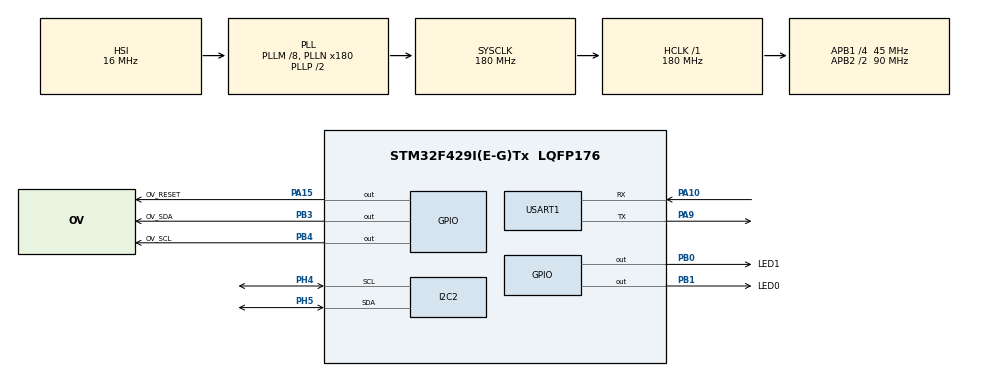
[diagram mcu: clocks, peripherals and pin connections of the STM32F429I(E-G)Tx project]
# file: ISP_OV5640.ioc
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Dma.Request0=USART1_RX
Dma.USART1_RX.0.Direction=DMA_PERIPH_TO_MEMORY
Dma.USART1_RX.0.FIFOMode=DMA_FIFOMODE_DISABLE
Dma.USART1_RX.0.Instance=DMA2_Stream2
Dma.USART1_RX.0.MemDataAlignment=DMA_MDATAALIGN_BYTE
Dma.USART1_RX.0.MemInc=DMA_MINC_ENABLE
Dma.USART1_RX.0.Mode=DMA_CIRCULAR
Dma.USART1_RX.0.PeriphDataAlignment=DMA_PDATAALIGN_BYTE
Dma.USART1_RX.0.PeriphInc=DMA_PINC_DISABLE
Dma.USART1_RX.0.Priority=DMA_PRIORITY_MEDIUM
FREERTOS.Tasks01=CameraServiceTa,32,2048,StartCameraServiceTask,Default,NULL,Dynamic,NULL,NULL;MonitorTask,8,512,StartMonitorTask,Default,NULL,Dynamic,NULL,NULL
FREERTOS.configTOTAL_HEAP_SIZE=32768
Mcu.Family=STM32F4
Mcu.Name=STM32F429I(E-G)Tx
Mcu.Package=LQFP176
NVIC.DMA2_Stream2_IRQn=true\:5\:0\:false\:false\:true\:true\:false\:true\:true
NVIC.PriorityGroup=NVIC_PRIORITYGROUP_4
NVIC.TIM6_DAC_IRQn=true\:15\:0\:false\:false\:true\:false\:false\:true\:true
NVIC.TimeBase=TIM6_DAC_IRQn
NVIC.TimeBaseIP=TIM6
NVIC.USART1_IRQn=true\:5\:0\:false\:false\:true\:true\:true\:true\:true
PA10.Mode=Asynchronous
PA10.Signal=USART1_RX
PA13.Mode=Serial_Wire
PA13.Signal=SYS_JTMS-SWDIO
PA14.Mode=Serial_Wire
PA14.Signal=SYS_JTCK-SWCLK
PA15.GPIO_Label=OV_RESET
PA15.GPIO_PuPd=GPIO_PULLUP
PA15.GPIO_Speed=GPIO_SPEED_FREQ_MEDIUM
PA15.Signal=GPIO_Output
PA9.Mode=Asynchronous
PA9.Signal=USART1_TX
PB0.GPIO_Label=LED1
PB0.PinState=GPIO_PIN_SET
PB0.Signal=GPIO_Output
PB1.GPIO_Label=LED0
PB1.PinState=GPIO_PIN_SET
PB1.Signal=GPIO_Output
PB3.GPIO_Label=OV_SDA
PB3.GPIO_ModeDefaultOutputPP=GPIO_MODE_OUTPUT_OD
PB3.GPIO_PuPd=GPIO_PULLUP
PB3.GPIO_Speed=GPIO_SPEED_FREQ_MEDIUM
PB3.PinState=GPIO_PIN_SET
PB3.Signal=GPIO_Output
PB4.GPIO_Label=OV_SCL
PB4.GPIO_ModeDefaultOutputPP=GPIO_MODE_OUTPUT_OD
PB4.GPIO_PuPd=GPIO_PULLUP
PB4.GPIO_Speed=GPIO_SPEED_FREQ_MEDIUM
PB4.PinState=GPIO_PIN_SET
PB4.Signal=GPIO_Output
PC14/OSC32_IN.Mode=LSE-External-Oscillator
PC14/OSC32_IN.Signal=RCC_OSC32_IN
PC15/OSC32_OUT.Mode=LSE-External-Oscillator
PC15/OSC32_OUT.Signal=RCC_OSC32_OUT
PH0/OSC_IN.Mode=HSE-External-Oscillator
PH0/OSC_IN.Signal=RCC_OSC_IN
PH1/OSC_OUT.Mode=HSE-External-Oscillator
PH1/OSC_OUT.Signal=RCC_OSC_OUT
PH4.GPIO_Pu=GPIO_PULLUP
PH4.GPIO_Speed=GPIO_SPEED_FREQ_HIGH
PH4.Mode=I2C
PH4.Signal=I2C2_SCL
PH5.GPIO_Pu=GPIO_PULLUP
PH5.GPIO_Speed=GPIO_SPEED_FREQ_HIGH
PH5.Mode=I2C
PH5.Signal=I2C2_SDA
ProjectManager.HeapSize=0x200
ProjectManager.StackSize=0x400
ProjectManager.TargetToolchain=CMake
RCC.48MHZClocksFreq_Value=90000000
RCC.AHBFreq_Value=180000000
RCC.APB1CLKDivider=RCC_HCLK_DIV4
RCC.APB1Freq_Value=45000000
RCC.APB1TimFreq_Value=90000000
RCC.APB2CLKDivider=RCC_HCLK_DIV2
RCC.APB2Freq_Value=90000000
RCC.APB2TimFreq_Value=180000000
RCC.CortexFreq_Value=180000000
RCC.HCLKFreq_Value=180000000
RCC.HSE_VALUE=25000000
RCC.HSI_VALUE=16000000
RCC.PLLM=8
RCC.PLLN=180
RCC.SYSCLKFreq_VALUE=180000000
RCC.SYSCLKSource=RCC_SYSCLKSOURCE_PLLCLK
RCC.VCOOutputFreq_Value=360000000
TIM7.Prescaler=89
USART1.VirtualMode=VM_ASYNC
VP_FREERTOS_VS_CMSIS_V2.Mode=CMSIS_V2
VP_SYS_VS_tim6.Mode=TIM6
VP_TIM7_VS_ClockSourceINT.Mode=Enable_Timer
board=custom

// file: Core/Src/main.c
/* USER CODE BEGIN Header */
/**
  ******************************************************************************
  * @file           : main.c
  * @brief          : Main program body
  ******************************************************************************
  * @attention
  *
  * Copyright (c) 2026 STMicroelectronics.
  * All rights reserved.
  *
  * This software is licensed under terms that can be found in the LICENSE file
  * in the root directory of this software component.
  * If no LICENSE file comes with this software, it is provided AS-IS.
  *
  ******************************************************************************
  */
/* USER CODE END Header */
#include "main.h"
#include "cmsis_os.h"
#include "dma.h"
#include "i2c.h"
#include "tim.h"
#include "usart.h"
#include "gpio.h"

/* USER CODE BEGIN Includes */
#include "bsp_log.h"
#include "bsp_PCF8574.h"
#include "delay_tim.h"
#include "bsp_sccb.h"
#include "lcd_mcu.h"
#include "camera_dcmi_dma.h"
#include "camera_cli.h"
#include "camera_frame_buffer.h"
#include "camera_image_process.h"
#include "camera_pc_dump.h"
#include "camera_rtos.h"
#include "OV5640.h"
#include "ov5640_tuning.h"
#include "FreeRTOS.h"
#include "task.h"
/* USER CODE END Includes */

/* USER CODE BEGIN PD */
#define CAMERA_MODE_480X320_REAL       0
#define CAMERA_MODE_480X320_TESTBAR    1
#define CAMERA_MODE_320X240_REAL       2
#define CAMERA_MODE_PC_DUMP_RGB565     3

#define CAMERA_MODE                    CAMERA_MODE_PC_DUMP_RGB565
#define PC_DUMP_USE_REAL_IMAGE         1U
#define OV5640_AEC_TUNING_ENABLE       1U
#define OV5640_AEC_TUNING_LEVEL        OV5640_AEC_TARGET_BASELINE
#define OV5640_AWB_TUNING_ENABLE       1U
#define OV5640_AWB_TUNING_MODE         OV5640_AWB_MODE_AUTO
#define OV5640_IMAGE_TUNING_ENABLE     1U
#define OV5640_BRIGHTNESS_LEVEL        1
#define OV5640_CONTRAST_LEVEL          0
#define OV5640_SATURATION_LEVEL        1
#define OV5640_SHARPNESS_LEVEL         0
#define CAMERA_FRAME_BUFFER_ENABLE     1U
#define CAMERA_CLI_ENABLE              1U

/* FreeRTOS严重错误Hook类型。 */
#define HOOK_FAULT_STACK_OVERFLOW      1U
#define HOOK_FAULT_MALLOC_FAILED       2U
#define HOOK_FAULT_ASSERT_FAILED       3U

/* USER CODE END PD */

/* USER CODE BEGIN PV */

// 启动最早期保存的IWDG复位标志，仅用于简洁诊断输出
static uint32_t g_boot_iwdg_reset = 0U;

/* USER CODE END PV */

void SystemClock_Config(void);
void MX_FREERTOS_Init(void);
/* USER CODE BEGIN PFP */
#if (CAMERA_SD_DIAG_SD_ONLY_BOOT == 0U)
static uint8_t Camera_Application_Init(void);
#else
static void Camera_SDOnly_Application_Init(void);
#endif
static void Hook_WriteU32(uint32_t value);
static void Hook_Stop(void);
/* USER CODE END PFP */

int main(void)
{

  /* USER CODE BEGIN 1 */

#if (CAMERA_SD_DIAG_SD_ONLY_BOOT == 0U)
  uint8_t camera_init_result;
#endif

  g_boot_iwdg_reset = ((RCC->CSR & RCC_CSR_IWDGRSTF) != 0U) ? 1U : 0U;
  __HAL_RCC_CLEAR_RESET_FLAGS();

  /* USER CODE END 1 */

  /* MCU Configuration--------------------------------------------------------*/

  /* Reset of all peripherals, Initializes the Flash interface and the Systick. */
  HAL_Init();

  /* Configure the system clock */
  SystemClock_Config();

  /* Initialize all configured peripherals */
  MX_GPIO_Init();
  MX_DMA_Init();
  MX_I2C2_Init();
  MX_USART1_UART_Init();
  MX_TIM7_Init();
  /* USER CODE BEGIN 2 */
  log_init(&huart1);
  log_set_level(LOG_LEVEL_DEBUG);   // 输出 DEBUG 及以上等级
  LOG_INFO("reset: iwdg=%lu", (unsigned long)g_boot_iwdg_reset);
  Delay_TIM7_Init();
#if (CAMERA_SD_DIAG_SD_ONLY_BOOT != 0U)
  Camera_SDOnly_Application_Init();
#else
  camera_init_result = Camera_Application_Init();
#endif
  Camera_RTOS_Init(&huart1);
  // 应用初始化完成后、调度器启动前启用IWDG
  if (Camera_RTOS_IwdgInit() != HAL_OK)
  {
    LOG_ERROR("IWDG init failed");
    Error_Handler();
  }
  /* USER CODE END 2 */

  /* Init scheduler */
  osKernelInitialize();  /* Call init function for freertos objects (in cmsis_os2.c) */
  MX_FREERTOS_Init();
#if (CAMERA_SD_DIAG_SD_ONLY_BOOT == 0U)
  if (camera_init_result == 0U)
  {
    (void)xEventGroupSetBits(
      CameraSystemEventGroup,
      CAMERA_SYS_CAMERA_READY);
  }
#endif

  /* Start scheduler */
  osKernelStart();

  /* We should never get here as control is now taken by the scheduler */

  /* Infinite loop */
  while (1)
  {

  }
}

void SystemClock_Config(void)
{
  RCC_OscInitTypeDef RCC_OscInitStruct = {0};
  RCC_ClkInitTypeDef RCC_ClkInitStruct = {0};

  /** Configure the main internal regulator output voltage
  */
  __HAL_RCC_PWR_CLK_ENABLE();
  __HAL_PWR_VOLTAGESCALING_CONFIG(PWR_REGULATOR_VOLTAGE_SCALE1);

  /** Initializes the RCC Oscillators according to the specified parameters
  * in the RCC_OscInitTypeDef structure.
  */
  RCC_OscInitStruct.OscillatorType = RCC_OSCILLATORTYPE_HSI;
  RCC_OscInitStruct.HSIState = RCC_HSI_ON;
  RCC_OscInitStruct.HSICalibrationValue = RCC_HSICALIBRATION_DEFAULT;
  RCC_OscInitStruct.PLL.PLLState = RCC_PLL_ON;
  RCC_OscInitStruct.PLL.PLLSource = RCC_PLLSOURCE_HSI;
  RCC_OscInitStruct.PLL.PLLM = 8;
  RCC_OscInitStruct.PLL.PLLN = 180;
  RCC_OscInitStruct.PLL.PLLP = RCC_PLLP_DIV2;
  RCC_OscInitStruct.PLL.PLLQ = 4;
  if (HAL_RCC_OscConfig(&RCC_OscInitStruct) != HAL_OK)
  {
    Error_Handler();
  }

  /** Activate the Over-Drive mode
  */
  if (HAL_PWREx_EnableOverDrive() != HAL_OK)
  {
    Error_Handler();
  }

  /** Initializes the CPU, AHB and APB buses clocks
  */
  RCC_ClkInitStruct.ClockType = RCC_CLOCKTYPE_HCLK|RCC_CLOCKTYPE_SYSCLK
                              |RCC_CLOCKTYPE_PCLK1|RCC_CLOCKTYPE_PCLK2;
  RCC_ClkInitStruct.SYSCLKSource = RCC_SYSCLKSOURCE_PLLCLK;
  RCC_ClkInitStruct.AHBCLKDivider = RCC_SYSCLK_DIV1;
  RCC_ClkInitStruct.APB1CLKDivider = RCC_HCLK_DIV4;
  RCC_ClkInitStruct.APB2CLKDivider = RCC_HCLK_DIV2;

  if (HAL_RCC_ClockConfig(&RCC_ClkInitStruct, FLASH_LATENCY_5) != HAL_OK)
  {
    Error_Handler();
  }
}

/* USER CODE BEGIN 4 */

#if (CAMERA_SD_DIAG_SD_ONLY_BOOT != 0U)
// 初始化仅用于 SD 诊断的最小启动路径
static void Camera_SDOnly_Application_Init(void)
{
  Camera_CLI_Init();
  LOG_INFO("SD-only boot active: OV5640 and DCMI initialization skipped");
}
#endif

#if (CAMERA_SD_DIAG_SD_ONLY_BOOT == 0U)
// 按编译期模式初始化摄像头、可选 LCD、双缓冲和 CLI
static uint8_t Camera_Application_Init(void)
{
  uint16_t ov_id;
  uint8_t ret;

  if (PCF8574_Init())
  {
    LOG_ERROR("PCF8574 initialization failed, check I2C connection");
    HAL_Delay(100);
  }
  else
  {
    LOG_INFO("PCF8574 initialized successfully");
  }

  // 先退出 PWDN 再执行硬复位，保证 OV5640 能响应后续 SCCB 访问。
  PCF8574_WriteBit(PCF8574_OV_PWDN_IO, 0);
  HAL_Delay(20);

  HAL_GPIO_WritePin(OV_RESET_GPIO_Port, OV_RESET_Pin, GPIO_PIN_RESET);
  HAL_Delay(20);
  HAL_GPIO_WritePin(OV_RESET_GPIO_Port, OV_RESET_Pin, GPIO_PIN_SET);
  HAL_Delay(50);

  ov_id = OV5640_ReadID();
  if (ov_id == 0x5640)
  {
    LOG_INFO("OV5640 OK, ID = 0x%04X", ov_id);
  }
  else
  {
    LOG_ERROR("OV5640 ERROR, ID = 0x%04X", ov_id);
  }

#if CAMERA_MODE != CAMERA_MODE_PC_DUMP_RGB565
  LCD_MCU_Init();
  HAL_Delay(1000);
#endif

#if CAMERA_MODE == CAMERA_MODE_PC_DUMP_RGB565
#if PC_DUMP_USE_REAL_IMAGE
  ret = OV5640_Min_InitRGB565_160x120_RealImage();
#else
  ret = OV5640_Min_InitRGB565_160x120_TestBar();
#endif
  if (ret != 0U)
  {
    LOG_ERROR("OV5640 PC dump 160x120 init failed, ret = %u", ret);
  }
#if OV5640_AEC_TUNING_ENABLE
  if (ret == 0U)
  {
    uint8_t aec_target_ret = OV5640_Tuning_SetAecTarget(OV5640_AEC_TUNING_LEVEL);
    if (aec_target_ret != 0U)
    {
      LOG_ERROR("OV5640 AEC target set failed, ret = %u", aec_target_ret);
    }
    HAL_Delay(1000U);
  }
#endif
#if OV5640_AWB_TUNING_ENABLE
  if (ret == 0U)
  {
    uint8_t awb_mode_ret = OV5640_Tuning_SetAWBMode(OV5640_AWB_TUNING_MODE);
    if (awb_mode_ret != 0U)
    {
      LOG_ERROR("OV5640 AWB mode set failed, ret = %u", awb_mode_ret);
    }
  }
#endif
#if OV5640_IMAGE_TUNING_ENABLE
  if (ret == 0U)
  {
    uint8_t brightness_ret = OV5640_Tuning_SetBrightness(OV5640_BRIGHTNESS_LEVEL);
    uint8_t contrast_ret = OV5640_Tuning_SetContrast(OV5640_CONTRAST_LEVEL);
    uint8_t saturation_ret = OV5640_Tuning_SetSaturation(OV5640_SATURATION_LEVEL);
    uint8_t sharpness_ret = OV5640_Tuning_SetSharpness(OV5640_SHARPNESS_LEVEL);
    if ((brightness_ret != 0U) || (contrast_ret != 0U) ||
        (saturation_ret != 0U) || (sharpness_ret != 0U))
    {
      LOG_ERROR("OV5640 image tuning failed B=%u C=%u S=%u H=%u",
                brightness_ret,
                contrast_ret,
                saturation_ret,
                sharpness_ret);
    }
  }
#endif
#elif CAMERA_MODE == CAMERA_MODE_480X320_REAL
  ret = OV5640_Min_InitRGB565_480x320_RealImage();
  if (ret != 0U)
  {
    LOG_ERROR("OV5640 480x320 real image init failed, ret = %u", ret);
  }
#elif CAMERA_MODE == CAMERA_MODE_480X320_TESTBAR
  ret = OV5640_Min_InitRGB565_480x320_TestBar();
  if (ret != 0U)
  {
    LOG_ERROR("OV5640 480x320 testbar init failed, ret = %u", ret);
  }
#elif CAMERA_MODE == CAMERA_MODE_320X240_REAL
  ret = OV5640_Min_InitRGB565_QVGA_RealImage();
  if (ret != 0U)
  {
    LOG_ERROR("OV5640 320x240 real image init failed, ret = %u", ret);
  }
#else
#error "Unsupported CAMERA_MODE"
#endif

#if (CAMERA_FRAME_BUFFER_ENABLE != 0U)
  Camera_FrameBuffer_Init();
#endif
#if (CAMERA_CLI_ENABLE != 0U)
  Camera_CLI_Init();
#endif

  Camera_DCMI_Init();

#if CAMERA_MODE != CAMERA_MODE_PC_DUMP_RGB565
  Camera_DCMI_DMA_ConfigToLCD((uint32_t)LCD_MCU_GetRAMAddress());

#if (CAMERA_MODE == CAMERA_MODE_480X320_REAL) || (CAMERA_MODE == CAMERA_MODE_480X320_TESTBAR)
  Camera_DCMI_StartToLCD(0, 0, 480, 320);
#elif CAMERA_MODE == CAMERA_MODE_320X240_REAL
  Camera_DCMI_StartToLCD(0, 0, 320, 240);
#else
#error "Unsupported CAMERA_MODE"
#endif

  HAL_Delay(100);
  LOG_INFO("DCMI CR   = 0x%08lX", DCMI->CR);
  LOG_INFO("DCMI SR   = 0x%08lX", DCMI->SR);
  LOG_INFO("DCMI RISR = 0x%08lX", DCMI->RISR);
  LOG_INFO("DCMI MISR = 0x%08lX", DCMI->MISR);
  LOG_INFO("DCMI IER  = 0x%08lX", DCMI->IER);
  LOG_INFO("DMA2_Stream1 CR   = 0x%08lX", DMA2_Stream1->CR);
  LOG_INFO("DMA2_Stream1 NDTR = %lu", DMA2_Stream1->NDTR);
#endif

  if (ret == 0U)
  {
    LOG_INFO("Camera init OK");
  }
  return ret;
}
#endif

// 不使用格式化缓冲区输出无符号整数，避免严重错误路径额外占用大量栈
static void Hook_WriteU32(uint32_t value)
{
  char buffer[11];
  uint32_t position = sizeof(buffer);

  buffer[--position] = '\0';
  do
  {
    buffer[--position] = (char)('0' + (value % 10U));
    value /= 10U;
  } while ((value != 0U) && (position > 0U));

  log_output(&buffer[position]);
}

// 致命错误输出完成后关闭中断并停机，不主动复位
static void Hook_Stop(void)
{
  __disable_irq();
  for (;;)
  {
    __NOP();
  }
}

// FreeRTOS任务栈溢出Hook
void vApplicationStackOverflowHook(TaskHandle_t xTask, char *pcTaskName)
{
  (void)xTask;
  Camera_RTOS_RecordHookFault(HOOK_FAULT_STACK_OVERFLOW, 0U);
  log_output("FATAL: FreeRTOS stack overflow, task=");
  log_output((pcTaskName != NULL) ? pcTaskName : "unknown");
  log_output("\r\n");
  Hook_Stop();
}

// FreeRTOS动态内存分配失败Hook
void vApplicationMallocFailedHook(void)
{
  Camera_RTOS_RecordHookFault(HOOK_FAULT_MALLOC_FAILED, 0U);
  log_output("FATAL: FreeRTOS malloc failed\r\n");
  Hook_Stop();
}

// configASSERT失败处理函数
void vAssertCalled(const char *file, int line)
{
  uint32_t assert_line = (line > 0) ? (uint32_t)line : 0U;

  Camera_RTOS_RecordHookFault(HOOK_FAULT_ASSERT_FAILED, assert_line);
  log_output("FATAL: configASSERT failed, file=");
  log_output((file != NULL) ? file : "unknown");
  log_output(", line=");
  Hook_WriteU32(assert_line);
  log_output("\r\n");
  Hook_Stop();
}

/* USER CODE END 4 */

void HAL_TIM_PeriodElapsedCallback(TIM_HandleTypeDef *htim)
{
  if (htim->Instance == TIM6)
  {
    HAL_IncTick();
  }
}

void Error_Handler(void)
{
  __disable_irq();
  while (1)
  {
  }
}

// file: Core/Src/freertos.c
/* USER CODE BEGIN Header */
/**
  ******************************************************************************
  * File Name          : freertos.c
  * Description        : Code for freertos applications
  ******************************************************************************
  * @attention
  *
  * Copyright (c) 2026 STMicroelectronics.
  * All rights reserved.
  *
  * This software is licensed under terms that can be found in the LICENSE file
  * in the root directory of this software component.
  * If no LICENSE file comes with this software, it is provided AS-IS.
  *
  ******************************************************************************
  */
/* USER CODE END Header */

#include "FreeRTOS.h"
#include "task.h"
#include "main.h"
#include "cmsis_os.h"

/* USER CODE BEGIN Includes */
#include "camera_command.h"
#include "camera_capture.h"
#include "camera_process_task.h"
#include "camera_rtos.h"
#include "camera_sd_storage.h"
/* USER CODE END Includes */

/* USER CODE BEGIN Variables */

EventGroupHandle_t CameraSystemEventGroup;

/* USER CODE END Variables */
/* Definitions for CommTask */
osThreadId_t CommTaskHandle;
const osThreadAttr_t CommTask_attributes = {
  .name = "CommTask",
  .stack_size = 512 * 4,
  .priority = (osPriority_t) osPriorityAboveNormal,
};
/* Definitions for ControlTask */
osThreadId_t ControlTaskHandle;
const osThreadAttr_t ControlTask_attributes = {
  .name = "ControlTask",
  .stack_size = 2048 * 4,
  .priority = (osPriority_t) osPriorityNormal,
};
/* Definitions for CaptureTask */
osThreadId_t CaptureTaskHandle;
const osThreadAttr_t CaptureTask_attributes = {
  .name = "CaptureTask",
  .stack_size = 256 * 4,
  .priority = (osPriority_t) osPriorityAboveNormal,
};
/* Definitions for ProcessTask */
osThreadId_t ProcessTaskHandle;
const osThreadAttr_t ProcessTask_attributes = {
  .name = "ProcessTask",
  .stack_size = 256 * 4,
  .priority = (osPriority_t) osPriorityNormal,
};
/* Definitions for StorageTask */
osThreadId_t StorageTaskHandle;
const osThreadAttr_t StorageTask_attributes = {
  .name = "StorageTask",
  .stack_size = 512 * 4,
  .priority = (osPriority_t) osPriorityNormal,
};
/* Definitions for MonitorTask */
osThreadId_t MonitorTaskHandle;
const osThreadAttr_t MonitorTask_attributes = {
  .name = "MonitorTask",
  .stack_size = 512 * 4,
  .priority = (osPriority_t) osPriorityLow,
};

void StartCommTask(void *argument);
void StartControlTask(void *argument);
void StartCaptureTask(void *argument);
void StartProcessTask(void *argument);
void StartStorageTask(void *argument);
void StartMonitorTask(void *argument);

void MX_FREERTOS_Init(void); /* (MISRA C 2004 rule 8.1) */

void MX_FREERTOS_Init(void) {
  /* USER CODE BEGIN Init */

  CameraSystemEventGroup = xEventGroupCreate();
  if (CameraSystemEventGroup == NULL)
  {
    Error_Handler();
  }
  (void)xEventGroupSetBits(CameraSystemEventGroup, CAMERA_SYS_HB_ALL);

  /* USER CODE END Init */

  /* USER CODE BEGIN RTOS_QUEUES */
  if (Camera_CommandInit() == false)
  {
    Error_Handler();
  }
  if (Camera_CaptureInit() == false)
  {
    Error_Handler();
  }
  if (Camera_ProcessTaskInit() == false)
  {
    Error_Handler();
  }
  if (Camera_SDStorage_TaskInit() == false)
  {
    Error_Handler();
  }
  /* USER CODE END RTOS_QUEUES */

  /* Create the thread(s) */
  /* creation of CommTask */
  CommTaskHandle = osThreadNew(StartCommTask, NULL, &CommTask_attributes);

  /* creation of ControlTask */
  ControlTaskHandle = osThreadNew(StartControlTask, NULL, &ControlTask_attributes);

  /* creation of CaptureTask */
  CaptureTaskHandle = osThreadNew(StartCaptureTask, NULL, &CaptureTask_attributes);

  /* creation of ProcessTask */
  ProcessTaskHandle = osThreadNew(StartProcessTask, NULL, &ProcessTask_attributes);

  /* creation of StorageTask */
  StorageTaskHandle = osThreadNew(StartStorageTask, NULL, &StorageTask_attributes);

  /* creation of MonitorTask */
  MonitorTaskHandle = osThreadNew(StartMonitorTask, NULL, &MonitorTask_attributes);

  /* USER CODE BEGIN RTOS_THREADS */
  /* add threads, ... */
  if ((CommTaskHandle == NULL) ||
    (ControlTaskHandle == NULL) ||
    (CaptureTaskHandle == NULL) ||
    (ProcessTaskHandle == NULL) ||
    (StorageTaskHandle == NULL) ||
    (MonitorTaskHandle == NULL))
  {
    Error_Handler();
  }

  /* USER CODE END RTOS_THREADS */

}

/* USER CODE BEGIN Header_StartCommTask */
// CommTask 只负责 UART RX、文本/binary parser 和 CommandQueue 提交
/* USER CODE END Header_StartCommTask */
void StartCommTask(void *argument)
{
  /* USER CODE BEGIN StartCommTask */
  Camera_RTOS_CommTask(argument);
  /* USER CODE END StartCommTask */
}

/* USER CODE BEGIN Header_StartControlTask */
// ControlTask 阻塞等待 CommandQueue 并串行执行现有业务
/* USER CODE END Header_StartControlTask */
void StartControlTask(void *argument)
{
  /* USER CODE BEGIN StartControlTask */
  Camera_RTOS_ControlTask(argument);
  /* USER CODE END StartControlTask */
}

/* USER CODE BEGIN Header_StartCaptureTask */
// CaptureTask owns DCMI/DMA and the frame-buffer back buffer during raw capture.
/* USER CODE END Header_StartCaptureTask */
void StartCaptureTask(void *argument)
{
  /* USER CODE BEGIN StartCaptureTask */
  Camera_CaptureTask(argument);
  /* USER CODE END StartCaptureTask */
}

void StartProcessTask(void *argument)
{
  Camera_ProcessTask(argument);
}

void StartStorageTask(void *argument)
{
  Camera_SDStorage_Task(argument);
}

/* USER CODE BEGIN Header_StartMonitorTask */
// Monitor 任务入口，实际健康监控循环由 camera_rtos 模块实现
/* USER CODE END Header_StartMonitorTask */
void StartMonitorTask(void *argument)
{
  /* USER CODE BEGIN StartMonitorTask */
  Camera_RTOS_MonitorTask(argument);
  /* USER CODE END StartMonitorTask */
}
